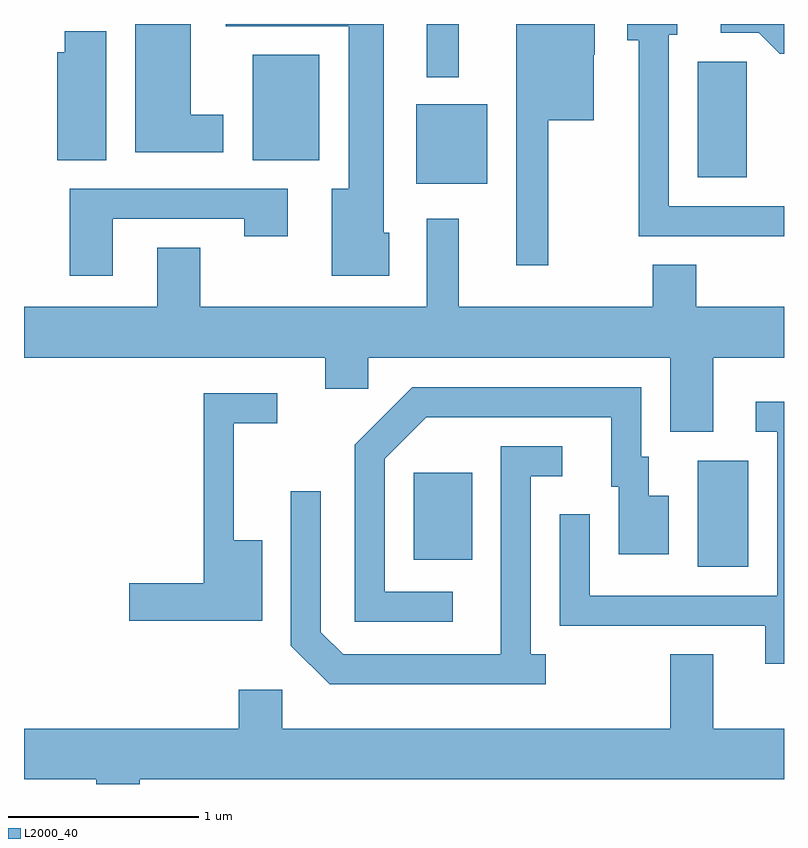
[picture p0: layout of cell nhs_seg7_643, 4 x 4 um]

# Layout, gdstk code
import gdstk
lib = gdstk.Library(unit=1e-6, precision=1e-09)
def R(c, l, rs):  # rectangles x0, y0, x1, y1
    for r in rs: c.add(gdstk.rectangle(r[:2], r[2:], *l))
def P(c, l, *ps):  # polygons
    for p in ps: c.add(gdstk.Polygon(p, *l))
L2000_40 = (2000, 40)

nhs_seg7_643 = lib.new_cell('nhs_seg7_643')
R(nhs_seg7_643, L2000_40, [(207.156,1755.396,207.424,1755.954), (205.661,1755.431,205.969,1755.889), (205.676,1757.411,206.049,1757.829), (207.156,1757.446,207.414,1758.054), (204.816,1757.536,205.164,1758.089), (205.731,1757.973,205.899,1758.252)])
P(nhs_seg7_643, L2000_40, [(207.611,1757.294),(207.004,1757.294),(207.004,1758.196),(207.049,1758.196),(207.049,1758.252),(206.786,1758.252),(206.786,1758.166),(206.846,1758.166),(206.846,1757.136),(207.611,1757.136)],
  [(207.611,1758.252),(207.278,1758.252),(207.278,1758.206),(207.479,1758.206),(207.589,1758.096),(207.611,1758.096)],
  [(206.369,1757.746),(206.609,1757.746),(206.609,1758.09),(206.614,1758.09),(206.614,1758.252),(206.201,1758.252),(206.201,1756.983),(206.369,1756.983)],
  [(205.534,1757.154),(205.504,1757.154),(205.504,1758.252),(204.673,1758.252),(204.673,1758.241),(205.321,1758.241),(205.321,1757.384),(205.231,1757.384),(205.231,1756.926),(205.534,1756.926)],
  [(204.659,1757.774),(204.489,1757.774),(204.489,1758.252),(204.196,1758.252),(204.196,1757.576),(204.659,1757.576)],
  [(204.044,1758.214),(203.826,1758.214),(203.826,1758.104),(203.786,1758.104),(203.786,1757.536),(204.044,1757.536)],
  [(204.079,1757.226),(204.771,1757.226),(204.771,1757.136),(204.999,1757.136),(204.999,1757.384),(203.851,1757.384),(203.851,1756.926),(204.079,1756.926)],
  [(207.239,1756.496),(207.611,1756.496),(207.611,1756.764),(207.149,1756.764),(207.149,1756.984),(206.921,1756.984),(206.921,1756.764),(205.899,1756.764),(205.899,1757.228),(205.731,1757.228),(205.731,1756.764),(204.539,1756.764),(204.539,1757.074),(204.311,1757.074),(204.311,1756.764),(203.611,1756.764),(203.611,1756.496),(205.196,1756.496),(205.196,1756.331),(205.424,1756.331),(205.424,1756.496),(207.011,1756.496),(207.011,1756.106),(207.239,1756.106)],
  [(205.868,1755.264),(205.509,1755.264),(205.509,1755.964),(205.727,1756.181),(206.701,1756.181),(206.701,1755.816),(206.741,1755.816),(206.741,1755.461),(207.004,1755.461),(207.004,1755.769),(206.899,1755.769),(206.899,1755.974),(206.859,1755.974),(206.859,1756.339),(205.654,1756.339),(205.351,1756.037),(205.351,1755.106),(205.868,1755.106)],
  [(204.864,1755.534),(204.714,1755.534),(204.714,1756.151),(204.943,1756.151),(204.943,1756.309),(204.556,1756.309),(204.556,1755.309),(204.166,1755.309),(204.166,1755.111),(204.864,1755.111)],
  [(207.611,1756.264),(207.463,1756.264),(207.463,1756.106),(207.576,1756.106),(207.576,1755.244),(206.589,1755.244),(206.589,1755.673),(206.431,1755.673),(206.431,1755.086),(207.511,1755.086),(207.511,1754.886),(207.611,1754.886)],
  [(206.358,1754.934),(206.279,1754.934),(206.279,1755.871),(206.443,1755.871),(206.443,1756.029),(206.121,1756.029),(206.121,1754.934),(205.292,1754.934),(205.174,1755.052),(205.174,1755.793),(205.016,1755.793),(205.016,1754.979),(205.219,1754.776),(206.358,1754.776)],
  [(204.219,1754.276),(207.611,1754.276),(207.611,1754.544),(207.239,1754.544),(207.239,1754.934),(207.011,1754.934),(207.011,1754.544),(204.969,1754.544),(204.969,1754.749),(204.741,1754.749),(204.741,1754.544),(203.611,1754.544),(203.611,1754.276),(203.991,1754.276),(203.991,1754.252),(204.219,1754.252)])

lib.write_gds('nhs_seg7_643.gds')
